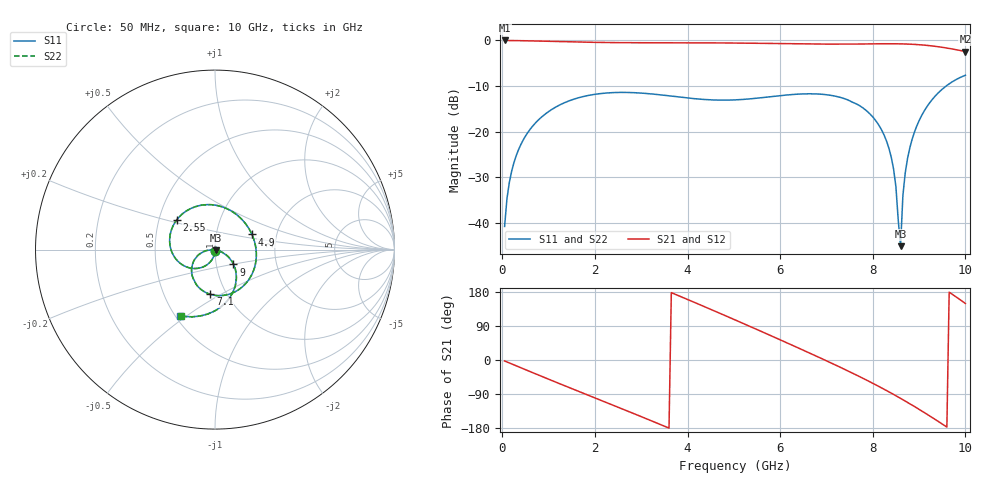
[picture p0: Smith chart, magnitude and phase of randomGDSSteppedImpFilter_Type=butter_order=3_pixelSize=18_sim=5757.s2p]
! freq	dB(S11)	phase(S11)	dB(S12)	phase(S12)
!  dB(S21)	phase(S21)	dB(S22)	phase(S22)
!S-par simulation data
#  GHz  S  DB  R 50
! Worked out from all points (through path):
!   200 points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, 50 MHz to 10 GHz, reference 50 ohm
!   highest |S21| = 0.00 dB at 50 MHz (marker M1); lowest = -2.4 dB at 10 GHz (marker M2)
!   group delay of S21, straight-line fit = 153 ps
!   lowest |S11| = -45.0 dB at 8.6 GHz (marker M3), VSWR 1.01, Z = 50.4 - j0.414 ohm
!   |S11| at or under -10 dB: start of sweep to 9.582 GHz
!   |S22| runs from -46.2 to -7.6 dB; largest |S21 - S12| = 0
!   S11 on the Smith chart (normalised r, x): 50 MHz: 1.00, -0.02; 2.55 GHz: 0.62, +0.22; 4.9 GHz: 1.49, +0.27; 7.1 GHz: 0.84, -0.45; 9 GHz: 1.21, -0.20; 10 GHz: 0.53, -0.47
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0.05  -40.72 -92.3  -0.00 -2.6  -0.00 -2.6  -40.72 -92.3
0.2  -28.71 -100.4  -0.02 -10.3  -0.02 -10.3  -28.71 -100.4
0.5  -20.95 -116.0  -0.07 -25.5  -0.07 -25.5  -20.95 -116.0
1.15  -14.61 -148.8  -0.22 -58.2  -0.22 -58.2  -14.61 -148.8
1.75  -12.28 -178.6  -0.37 -87.8  -0.37 -87.8  -12.28 -178.6
2.55  -11.38 142.1  -0.49 -127.1  -0.49 -127.1  -11.38 142.1
3.4  -11.89 99.7  -0.51 -169.5  -0.51 -169.5  -11.89 99.8
4.1  -12.70 64.0  -0.52 154.6  -0.52 154.6  -12.70 64.1
4.9  -13.05 22.3  -0.56 112.6  -0.56 112.6  -13.06 22.5
5.05  -13.00 14.5  -0.57 104.6  -0.57 104.6  -13.00 14.6
5.8  -12.30 -25.2  -0.66 64.2  -0.66 64.2  -12.31 -25.1
6.7  -11.68 -73.8  -0.79 14.7  -0.79 14.7  -11.68 -73.8
7.1  -12.03 -95.9  -0.81 -7.8  -0.81 -7.8  -12.03 -96.0
7.9  -15.70 -142.0  -0.75 -55.2  -0.75 -55.2  -15.71 -142.4
8.35  -23.65 -169.1  -0.72 -84.1  -0.72 -84.1  -23.66 -170.3
8.5  -32.07 -174.7  -0.73 -94.3  -0.73 -94.3  -32.13 -177.9
8.6  -45.03 -47.1  -0.75 -101.2  -0.75 -101.2  -46.22 -32.2
8.65  -34.04 -21.4  -0.76 -104.7  -0.76 -104.7  -34.10 -17.1
8.7  -29.07 -20.9  -0.77 -108.3  -0.77 -108.3  -29.09 -18.4
9  -17.57 -38.8  -0.93 -130.2  -0.93 -130.2  -17.57 -38.1
9.5  -10.67 -76.5  -1.50 -168.9  -1.50 -168.9  -10.67 -76.1
10  -7.62 -117.6  -2.43 149.2  -2.43 149.2  -7.62 -117.4
